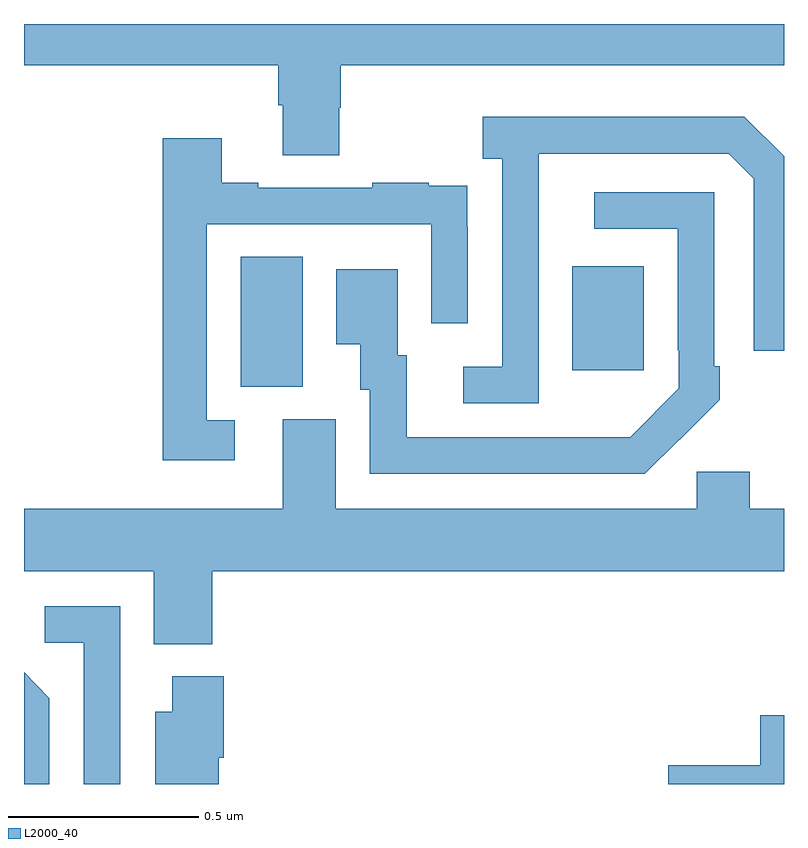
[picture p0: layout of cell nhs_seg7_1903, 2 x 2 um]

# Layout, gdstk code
import gdstk
lib = gdstk.Library(unit=1e-6, precision=1e-09)
def R(c, l, rs):  # rectangles x0, y0, x1, y1
    for r in rs: c.add(gdstk.rectangle(r[:2], r[2:], *l))
def P(c, l, *ps):  # polygons
    for p in ps: c.add(gdstk.Polygon(p, *l))
L2000_40 = (2000, 40)

nhs_seg7_1903 = lib.new_cell('nhs_seg7_1903')
R(nhs_seg7_1903, L2000_40, [(137.57,1057.045,137.734,1057.388), (138.443,1057.089,138.631,1057.363)])
P(nhs_seg7_1903, L2000_40, [(137.829,1057.779),(137.834,1057.779),(137.834,1057.892),(139,1057.892),(139,1058),(137,1058),(137,1057.892),(137.669,1057.892),(137.669,1057.786),(137.681,1057.786),(137.681,1057.654),(137.829,1057.654)],
  [(138.354,1057.459),(138.355,1057.459),(138.355,1057.659),(138.855,1057.659),(138.921,1057.593),(138.921,1057.14),(139,1057.14),(139,1057.652),(138.896,1057.756),(138.207,1057.756),(138.207,1057.646),(138.258,1057.646),(138.258,1057.098),(138.156,1057.098),(138.156,1057.002),(138.354,1057.002)],
  [(137.554,1056.957),(137.481,1056.957),(137.481,1057.473),(138.072,1057.473),(138.072,1057.212),(138.168,1057.212),(138.168,1057.466),(138.167,1057.466),(138.167,1057.575),(138.065,1057.575),(138.065,1057.582),(137.917,1057.582),(137.917,1057.569),(137.617,1057.569),(137.617,1057.582),(137.521,1057.582),(137.521,1057.699),(137.365,1057.699),(137.365,1056.852),(137.554,1056.852)],
  [(138.725,1056.907),(138.726,1056.906),(138.831,1057.011),(138.831,1057.099),(138.816,1057.099),(138.816,1057.557),(138.501,1057.557),(138.501,1057.461),(138.72,1057.461),(138.72,1057.141),(138.723,1057.141),(138.723,1057.041),(138.595,1056.913),(138.491,1056.913),(138.491,1056.912),(138.007,1056.912),(138.007,1057.128),(137.983,1057.128),(137.983,1057.354),(137.822,1057.354),(137.822,1057.157),(137.885,1057.157),(137.885,1057.038),(137.91,1057.038),(137.91,1056.816),(138.634,1056.816)],
  [(137.495,1056.56),(139,1056.56),(139,1056.724),(138.91,1056.724),(138.91,1056.822),(138.771,1056.822),(138.771,1056.724),(137.821,1056.724),(137.821,1056.96),(137.681,1056.96),(137.681,1056.724),(137,1056.724),(137,1056.56),(137.342,1056.56),(137.342,1056.368),(137.495,1056.368)],
  [(137.253,1056.468),(137.055,1056.468),(137.055,1056.372),(137.157,1056.372),(137.157,1056),(137.253,1056)],
  [(137.067,1056.226),(137,1056.294),(137,1056),(137.067,1056)],
  [(137.512,1056.069),(137.525,1056.069),(137.525,1056.283),(137.39,1056.283),(137.39,1056.19),(137.345,1056.19),(137.345,1056),(137.512,1056)],
  [(139,1056.181),(138.938,1056.181),(138.938,1056.05),(138.696,1056.05),(138.696,1056),(139,1056)])

lib.write_gds('nhs_seg7_1903.gds')
